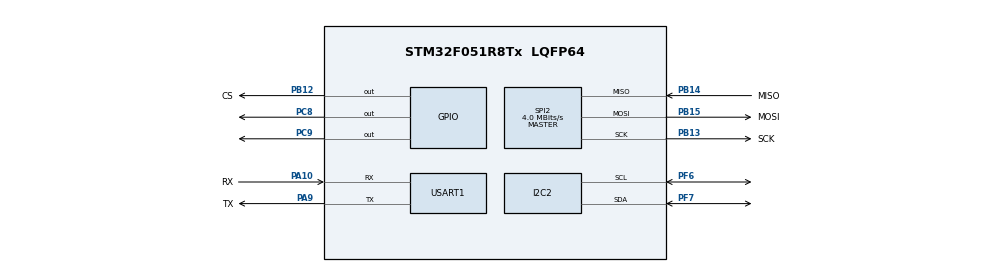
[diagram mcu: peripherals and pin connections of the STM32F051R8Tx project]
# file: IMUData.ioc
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Mcu.Family=STM32F0
Mcu.Name=STM32F051R8Tx
Mcu.Package=LQFP64
PA10.GPIO_Label=RX
PA10.Mode=Asynchronous
PA10.Signal=USART1_RX
PA9.GPIO_Label=TX
PA9.Mode=Asynchronous
PA9.Signal=USART1_TX
PB12.GPIO_Label=CS
PB12.Signal=GPIO_Output
PB13.GPIO_Label=SCK
PB13.Mode=Full_Duplex_Master
PB13.Signal=SPI2_SCK
PB14.GPIO_Label=MISO
PB14.Mode=Full_Duplex_Master
PB14.Signal=SPI2_MISO
PB15.GPIO_Label=MOSI
PB15.Mode=Full_Duplex_Master
PB15.Signal=SPI2_MOSI
PC8.PinState=GPIO_PIN_SET
PC8.Signal=GPIO_Output
PC9.PinState=GPIO_PIN_SET
PC9.Signal=GPIO_Output
PF6.Mode=I2C
PF6.Signal=I2C2_SCL
PF7.Mode=I2C
PF7.Signal=I2C2_SDA
ProjectManager.HeapSize=0x200
ProjectManager.StackSize=0x400
ProjectManager.TargetToolchain=STM32CubeIDE
SPI2.CalculateBaudRate=4.0 MBits/s
SPI2.DataSize=SPI_DATASIZE_8BIT
SPI2.Direction=SPI_DIRECTION_2LINES
SPI2.Mode=SPI_MODE_MASTER
SPI2.VirtualType=VM_MASTER
USART1.VirtualMode-Asynchronous=VM_ASYNC
board=custom

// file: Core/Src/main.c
/* USER CODE BEGIN Header */
/**
 ******************************************************************************
 * @file           : main.c
 * @brief          : Main program body
 ******************************************************************************
 * @attention
 *
 * Copyright (c) 2022 STMicroelectronics.
 * All rights reserved.
 *
 * This software is licensed under terms that can be found in the LICENSE file
 * in the root directory of this software component.
 * If no LICENSE file comes with this software, it is provided AS-IS.
 *
 ******************************************************************************
 */
/* USER CODE END Header */
#include "main.h"

/* USER CODE BEGIN Includes */
#include <string.h>
#include <stdio.h>
#include <stdlib.h>
#include "icm20948.h"
#include "xor_algo.h"
#include <stdlib.h>
#include <ctype.h>
#include <errno.h>
#include <time.h>
#include <unistd.h>
/* USER CODE END Includes */

/* USER CODE BEGIN PTD */

axises my_gyro;
axises my_accel;
axises my_mag;

/* USER CODE END PTD */

 I2C_HandleTypeDef hi2c2;

SPI_HandleTypeDef hspi2;

UART_HandleTypeDef huart1;

void SystemClock_Config(void);
static void MX_GPIO_Init(void);
static void MX_I2C2_Init(void);
static void MX_SPI2_Init(void);
static void MX_USART1_UART_Init(void);
/* USER CODE BEGIN PFP */

void Decompression (char *Out_size, const unsigned char *Compressed_size, unsigned CompressedLength);
void Compression(unsigned char *sizeOut, const char *Message_size);

static void cs_high();
static void cs_low();
static void select_user_bank(userbank ub);
static uint8_t read_single_icm20948_reg(userbank ub, uint8_t reg);
static void write_single_icm20948_reg(userbank ub, uint8_t reg, uint8_t val);
static uint8_t *read_multiple_icm20948_reg(userbank ub, uint8_t reg, uint8_t len);
static void write_multiple_icm20948_reg(userbank ub, uint8_t reg, uint8_t *val, uint8_t len);
static uint8_t read_single_ak09916_reg(uint8_t reg);
static void write_single_ak09916_reg(uint8_t reg, uint8_t val);
static uint8_t *read_multiple_ak09916_reg(uint8_t reg, uint8_t len);

/* Main Functions */
void Encryption(char compressedData);
// sensor init function.
// if sensor id is wrong, it is stuck in while.
void icm20948_init();
void ak09916_init();

// 16 bits ADC value. raw data.
void icm20948_gyro_read(axises *data);
void icm20948_accel_read(axises *data);
bool ak09916_mag_read(axises *data);

// Convert 16 bits ADC value to their unit.
void icm20948_gyro_read_dps(axises *data);
void icm20948_accel_read_g(axises *data);
bool ak09916_mag_read_uT(axises *data);

/* Sub Functions */
bool icm20948_who_am_i();
bool ak09916_who_am_i();

void icm20948_device_reset();
void ak09916_soft_reset();

void icm20948_wakeup();
void icm20948_sleep();

void icm20948_spi_slave_enable();

void icm20948_i2c_master_reset();
void icm20948_i2c_master_enable();
void icm20948_i2c_master_clk_frq(uint8_t config); // 0 - 15

void icm20948_clock_source(uint8_t source);
void icm20948_odr_align_enable();

void icm20948_gyro_low_pass_filter(uint8_t config);	 // 0 - 7
void icm20948_accel_low_pass_filter(uint8_t config); // 0 - 7

// Output Data Rate = 1.125kHz / (1 + divider)
void icm20948_gyro_sample_rate_divider(uint8_t divider);
void icm20948_accel_sample_rate_divider(uint16_t divider);
void ak09916_operation_mode_setting(operation_mode mode);

// Calibration before select full scale.
void icm20948_gyro_calibration();
void icm20948_accel_calibration();

void icm20948_gyro_full_scale_select(gyro_full_scale full_scale);
void icm20948_accel_full_scale_select(accel_full_scale full_scale);

/* USER CODE END PFP */

/* USER CODE BEGIN 0 */

/*  General purpose Function to send a char array
	over the UART and to automatically send a new line
	character after it.
*/
void debugPrintln(UART_HandleTypeDef *uart_handle,
				  char _out[])
{
	HAL_UART_Transmit(uart_handle, (uint8_t *)_out, strlen(_out),  60);
	char newline[2] = "\r\n";
	HAL_UART_Transmit(uart_handle, (uint8_t *)newline, 2, 10);
}

/* USER CODE END 0 */

int main(void)
{

  /* MCU Configuration--------------------------------------------------------*/

  /* Reset of all peripherals, Initializes the Flash interface and the Systick. */
  HAL_Init();

  /* Configure the system clock */
  SystemClock_Config();

  /* Initialize all configured peripherals */
  MX_GPIO_Init();
  MX_I2C2_Init();
  MX_SPI2_Init();
  MX_USART1_UART_Init();
  /* USER CODE BEGIN 2 */

	icm20948_init();

	 ak09916_init();

  /* USER CODE END 2 */

  /* Infinite loop */
  /* USER CODE BEGIN WHILE */
	while (1)
	{
		char buf101[256];
		char buf102[256];
		char buff2[256];
		char buffer[256];

		icm20948_gyro_read_dps(&my_gyro);
		icm20948_accel_read_g(&my_accel);

		debugPrintln(&huart1,"------------------------------ICM-20948 Data----------------------");

		sprintf(buff2,"\r\n Accelerometer Reading : X:%f Y:%f Z:%f\n",my_accel.x,my_accel.y,my_accel.z);
		sprintf(buf101,"\r\n Gyroscope Reading     : X:%f Y:%f Z:%f\n",my_gyro.x,my_gyro.y,my_gyro.z);
		strcat(buff2,buf101);
		debugPrintln(&huart1,(char *)buff2);
		debugPrintln(&huart1,"-------------------------------------------------------------------");

		debugPrintln(&huart1,"-------------------------------Encryption -------------------------");
		//call the encryption function, input vuyisa's compressed data

	    char xorKey = 'A';

	    int len = strlen(buff2);

	    for(int i = 0; i< len; i++){
	        buffer[i] = buff2[i] ^1 ;

	    }
	    debugPrintln(&huart1,buffer);

		debugPrintln(&huart1,"-------------------------------Decryption -------------------------");
		//call the Decryption function, input vuyisa's compressed data

	    int len2 = strlen(buffer);

	    for(int i = 0; i< len2; i++){
	        buffer[i] = buffer[i] ^ 2;

	    }
	    debugPrintln(&huart1,buffer);
	    HAL_Delay(5000);

    /* USER CODE END WHILE */

	}
}

void SystemClock_Config(void)
{
  RCC_OscInitTypeDef RCC_OscInitStruct = {0};
  RCC_ClkInitTypeDef RCC_ClkInitStruct = {0};
  RCC_PeriphCLKInitTypeDef PeriphClkInit = {0};

  /** Initializes the RCC Oscillators according to the specified parameters
  * in the RCC_OscInitTypeDef structure.
  */
  RCC_OscInitStruct.OscillatorType = RCC_OSCILLATORTYPE_HSI;
  RCC_OscInitStruct.HSIState = RCC_HSI_ON;
  RCC_OscInitStruct.HSICalibrationValue = RCC_HSICALIBRATION_DEFAULT;
  RCC_OscInitStruct.PLL.PLLState = RCC_PLL_NONE;
  if (HAL_RCC_OscConfig(&RCC_OscInitStruct) != HAL_OK)
  {
    Error_Handler();
  }

  /** Initializes the CPU, AHB and APB buses clocks
  */
  RCC_ClkInitStruct.ClockType = RCC_CLOCKTYPE_HCLK|RCC_CLOCKTYPE_SYSCLK
                              |RCC_CLOCKTYPE_PCLK1;
  RCC_ClkInitStruct.SYSCLKSource = RCC_SYSCLKSOURCE_HSI;
  RCC_ClkInitStruct.AHBCLKDivider = RCC_SYSCLK_DIV1;
  RCC_ClkInitStruct.APB1CLKDivider = RCC_HCLK_DIV1;

  if (HAL_RCC_ClockConfig(&RCC_ClkInitStruct, FLASH_LATENCY_0) != HAL_OK)
  {
    Error_Handler();
  }
  PeriphClkInit.PeriphClockSelection = RCC_PERIPHCLK_USART1;
  PeriphClkInit.Usart1ClockSelection = RCC_USART1CLKSOURCE_PCLK1;
  if (HAL_RCCEx_PeriphCLKConfig(&PeriphClkInit) != HAL_OK)
  {
    Error_Handler();
  }
}

static void MX_I2C2_Init(void)
{

  hi2c2.Instance = I2C2;
  hi2c2.Init.Timing = 0x2000090E;
  hi2c2.Init.OwnAddress1 = 0;
  hi2c2.Init.AddressingMode = I2C_ADDRESSINGMODE_7BIT;
  hi2c2.Init.DualAddressMode = I2C_DUALADDRESS_DISABLE;
  hi2c2.Init.OwnAddress2 = 0;
  hi2c2.Init.OwnAddress2Masks = I2C_OA2_NOMASK;
  hi2c2.Init.GeneralCallMode = I2C_GENERALCALL_DISABLE;
  hi2c2.Init.NoStretchMode = I2C_NOSTRETCH_DISABLE;
  if (HAL_I2C_Init(&hi2c2) != HAL_OK)
  {
    Error_Handler();
  }

  /** Configure Analogue filter
  */
  if (HAL_I2CEx_ConfigAnalogFilter(&hi2c2, I2C_ANALOGFILTER_ENABLE) != HAL_OK)
  {
    Error_Handler();
  }

  /** Configure Digital filter
  */
  if (HAL_I2CEx_ConfigDigitalFilter(&hi2c2, 0) != HAL_OK)
  {
    Error_Handler();
  }

}

static void MX_SPI2_Init(void)
{

  /* SPI2 parameter configuration*/
  hspi2.Instance = SPI2;
  hspi2.Init.Mode = SPI_MODE_MASTER;
  hspi2.Init.Direction = SPI_DIRECTION_2LINES;
  hspi2.Init.DataSize = SPI_DATASIZE_8BIT;
  hspi2.Init.CLKPolarity = SPI_POLARITY_LOW;
  hspi2.Init.CLKPhase = SPI_PHASE_1EDGE;
  hspi2.Init.NSS = SPI_NSS_SOFT;
  hspi2.Init.BaudRatePrescaler = SPI_BAUDRATEPRESCALER_2;
  hspi2.Init.FirstBit = SPI_FIRSTBIT_MSB;
  hspi2.Init.TIMode = SPI_TIMODE_DISABLE;
  hspi2.Init.CRCCalculation = SPI_CRCCALCULATION_DISABLE;
  hspi2.Init.CRCPolynomial = 7;
  hspi2.Init.CRCLength = SPI_CRC_LENGTH_DATASIZE;
  hspi2.Init.NSSPMode = SPI_NSS_PULSE_ENABLE;
  if (HAL_SPI_Init(&hspi2) != HAL_OK)
  {
    Error_Handler();
  }

}

static void MX_USART1_UART_Init(void)
{

  huart1.Instance = USART1;
  huart1.Init.BaudRate = 38400;
  huart1.Init.WordLength = UART_WORDLENGTH_8B;
  huart1.Init.StopBits = UART_STOPBITS_1;
  huart1.Init.Parity = UART_PARITY_NONE;
  huart1.Init.Mode = UART_MODE_TX_RX;
  huart1.Init.HwFlowCtl = UART_HWCONTROL_NONE;
  huart1.Init.OverSampling = UART_OVERSAMPLING_16;
  huart1.Init.OneBitSampling = UART_ONE_BIT_SAMPLE_DISABLE;
  huart1.AdvancedInit.AdvFeatureInit = UART_ADVFEATURE_NO_INIT;
  if (HAL_UART_Init(&huart1) != HAL_OK)
  {
    Error_Handler();
  }

}

static void MX_GPIO_Init(void)
{
  GPIO_InitTypeDef GPIO_InitStruct = {0};

  /* GPIO Ports Clock Enable */
  __HAL_RCC_GPIOB_CLK_ENABLE();
  __HAL_RCC_GPIOC_CLK_ENABLE();
  __HAL_RCC_GPIOA_CLK_ENABLE();
  __HAL_RCC_GPIOF_CLK_ENABLE();

  /*Configure GPIO pin Output Level */
  HAL_GPIO_WritePin(CS_GPIO_Port, CS_Pin, GPIO_PIN_RESET);

  /*Configure GPIO pin Output Level */
  HAL_GPIO_WritePin(GPIOC, GPIO_PIN_8|GPIO_PIN_9, GPIO_PIN_SET);

  /*Configure GPIO pin : CS_Pin */
  GPIO_InitStruct.Pin = CS_Pin;
  GPIO_InitStruct.Mode = GPIO_MODE_OUTPUT_PP;
  GPIO_InitStruct.Pull = GPIO_NOPULL;
  GPIO_InitStruct.Speed = GPIO_SPEED_FREQ_LOW;
  HAL_GPIO_Init(CS_GPIO_Port, &GPIO_InitStruct);

  /*Configure GPIO pins : PC8 PC9 */
  GPIO_InitStruct.Pin = GPIO_PIN_8|GPIO_PIN_9;
  GPIO_InitStruct.Mode = GPIO_MODE_OUTPUT_PP;
  GPIO_InitStruct.Pull = GPIO_NOPULL;
  GPIO_InitStruct.Speed = GPIO_SPEED_FREQ_LOW;
  HAL_GPIO_Init(GPIOC, &GPIO_InitStruct);

}

/* USER CODE BEGIN 4 */
// Functions to connect to ICM
static float gyro_scale_factor;
static float accel_scale_factor;

/* Static Functions */

/* Main Functions */

void Compression(unsigned char *sizeOut, const char *Message_size) {

	unsigned long long Buffer = 0;
	char Bits = 0;

	while (*Message_size != 0) {
		Buffer |= (unsigned long long)(*Message_size++) << Bits;
		Bits += 7;
		if (Bits == 7 * 8) {
			while (Bits > 0) {
				*sizeOut++ = Buffer;
				Buffer >>= 8;
				Bits -= 8;
			}
			Bits = 0;
			Buffer = 0;
		}
	}
	while (Bits > 0) {
		*sizeOut++ = Buffer;
		Buffer >>= 8;
		Bits -= 8;
	}
}

void Decompression (char *Out_size, const unsigned char *Compressed_size, unsigned CompressedLength) {

	unsigned long long Buffer = 0;
	char Bits = 0;
	while (CompressedLength) {
		while (CompressedLength && Bits < 7 * 8) {
			Buffer |= (unsigned long long)*Compressed_size++ << Bits;
			Bits += 8;
			--CompressedLength;
		}
		while (Bits > 0) {
			*Out_size++ = Buffer & 0x7F;
			Buffer >>= 7;
			Bits -= 7;
		}

		Bits = 0;
		Buffer = 0;
	}
}

void icm20948_init()
{
	while (!icm20948_who_am_i());

	icm20948_device_reset();
	icm20948_wakeup();

	icm20948_clock_source(1);
	icm20948_odr_align_enable();

	icm20948_spi_slave_enable();

	icm20948_gyro_low_pass_filter(0);
	icm20948_accel_low_pass_filter(0);

	icm20948_gyro_sample_rate_divider(0);
	icm20948_accel_sample_rate_divider(0);

	icm20948_gyro_calibration();
	icm20948_accel_calibration();

	icm20948_gyro_full_scale_select(_2000dps);
	icm20948_accel_full_scale_select(_16g);
}
/*void Encryption(char compressedData)
{
	aXor(buffer,compressedData);
}
void Decryption(char compressedData)
{
	aXor(buffer,compressedData);
}
*/
void ak09916_init()
{
	icm20948_i2c_master_reset();
	icm20948_i2c_master_enable();
	icm20948_i2c_master_clk_frq(7);

//	while (!ak09916_who_am_i())
//		;

	ak09916_soft_reset();
	ak09916_operation_mode_setting(continuous_measurement_100hz);
}

void icm20948_gyro_read(axises *data)
{
	uint8_t *temp = read_multiple_icm20948_reg(ub_0, B0_GYRO_XOUT_H, 6);

	data->x = (int16_t)(temp[0] << 8 | temp[1]);
	data->y = (int16_t)(temp[2] << 8 | temp[3]);
	data->z = (int16_t)(temp[4] << 8 | temp[5]);
}

void icm20948_accel_read(axises *data)
{
	uint8_t *temp = read_multiple_icm20948_reg(ub_0, B0_ACCEL_XOUT_H, 6);

	data->x = (int16_t)(temp[0] << 8 | temp[1]);
	data->y = (int16_t)(temp[2] << 8 | temp[3]);
	data->z = (int16_t)(temp[4] << 8 | temp[5]) + accel_scale_factor;
	// Add scale factor because calibraiton function offset gravity acceleration.
}

bool ak09916_mag_read(axises *data)
{
	uint8_t *temp;
	uint8_t drdy, hofl; // data ready, overflow

	drdy = read_single_ak09916_reg(MAG_ST1) & 0x01;
	if (!drdy)
		return false;

	temp = read_multiple_ak09916_reg(MAG_HXL, 6);

	hofl = read_single_ak09916_reg(MAG_ST2) & 0x08;
	if (hofl)
		return false;

	data->x = (int16_t)(temp[1] << 8 | temp[0]);
	data->y = (int16_t)(temp[3] << 8 | temp[2]);
	data->z = (int16_t)(temp[5] << 8 | temp[4]);

	return true;
}

void icm20948_gyro_read_dps(axises *data)
{
	icm20948_gyro_read(data);

	data->x /= gyro_scale_factor;
	data->y /= gyro_scale_factor;
	data->z /= gyro_scale_factor;
}

void icm20948_accel_read_g(axises *data)
{
	icm20948_accel_read(data);

	data->x /= accel_scale_factor;
	data->y /= accel_scale_factor;
	data->z /= accel_scale_factor;
}

bool ak09916_mag_read_uT(axises *data)
{
	axises temp;
	bool new_data = ak09916_mag_read(&temp);
	if (!new_data)
		return false;

	data->x = (float)(temp.x * 0.15);
	data->y = (float)(temp.y * 0.15);
	data->z = (float)(temp.z * 0.15);

	return true;
}

/* Sub Functions */
bool icm20948_who_am_i()
{
	uint8_t icm20948_id = read_single_icm20948_reg(ub_0, B0_WHO_AM_I);

	if (icm20948_id == ICM20948_ID)
		return true;
	else
		return false;
}

bool ak09916_who_am_i()
{
	uint8_t ak09916_id = read_single_ak09916_reg(MAG_WIA2);

	if (ak09916_id == AK09916_ID)
		return true;
	else
		return false;
}

void icm20948_device_reset()
{
	write_single_icm20948_reg(ub_0, B0_PWR_MGMT_1, 0x80 | 0x41);
	HAL_Delay(100);
}

void ak09916_soft_reset()
{
	write_single_ak09916_reg(MAG_CNTL3, 0x01);
	HAL_Delay(100);
}

void icm20948_wakeup()
{
	uint8_t new_val = read_single_icm20948_reg(ub_0, B0_PWR_MGMT_1);
	new_val &= 0xBF;

	write_single_icm20948_reg(ub_0, B0_PWR_MGMT_1, new_val);
	HAL_Delay(100);
}

void icm20948_sleep()
{
	uint8_t new_val = read_single_icm20948_reg(ub_0, B0_PWR_MGMT_1);
	new_val |= 0x40;

	write_single_icm20948_reg(ub_0, B0_PWR_MGMT_1, new_val);
	HAL_Delay(100);
}

void icm20948_spi_slave_enable()
{
	uint8_t new_val = read_single_icm20948_reg(ub_0, B0_USER_CTRL);
	new_val |= 0x10;

	write_single_icm20948_reg(ub_0, B0_USER_CTRL, new_val);
}

void icm20948_i2c_master_reset()
{
	uint8_t new_val = read_single_icm20948_reg(ub_0, B0_USER_CTRL);
	new_val |= 0x02;

	write_single_icm20948_reg(ub_0, B0_USER_CTRL, new_val);
}

void icm20948_i2c_master_enable()
{
	uint8_t new_val = read_single_icm20948_reg(ub_0, B0_USER_CTRL);
	new_val |= 0x20;

	write_single_icm20948_reg(ub_0, B0_USER_CTRL, new_val);
	HAL_Delay(100);
}

void icm20948_i2c_master_clk_frq(uint8_t config)
{
	uint8_t new_val = read_single_icm20948_reg(ub_3, B3_I2C_MST_CTRL);
	new_val |= config;

	write_single_icm20948_reg(ub_3, B3_I2C_MST_CTRL, new_val);
}

void icm20948_clock_source(uint8_t source)
{
	uint8_t new_val = read_single_icm20948_reg(ub_0, B0_PWR_MGMT_1);
	new_val |= source;

	write_single_icm20948_reg(ub_0, B0_PWR_MGMT_1, new_val);
}

void icm20948_odr_align_enable()
{
	write_single_icm20948_reg(ub_2, B2_ODR_ALIGN_EN, 0x01);
}

void icm20948_gyro_low_pass_filter(uint8_t config)
{
	uint8_t new_val = read_single_icm20948_reg(ub_2, B2_GYRO_CONFIG_1);
	new_val |= config << 3;

	write_single_icm20948_reg(ub_2, B2_GYRO_CONFIG_1, new_val);
}

void icm20948_accel_low_pass_filter(uint8_t config)
{
	uint8_t new_val = read_single_icm20948_reg(ub_2, B2_ACCEL_CONFIG);
	new_val |= config << 3;

	write_single_icm20948_reg(ub_2, B2_GYRO_CONFIG_1, new_val);
}

void icm20948_gyro_sample_rate_divider(uint8_t divider)
{
	write_single_icm20948_reg(ub_2, B2_GYRO_SMPLRT_DIV, divider);
}

void icm20948_accel_sample_rate_divider(uint16_t divider)
{
	uint8_t divider_1 = (uint8_t)(divider >> 8);
	uint8_t divider_2 = (uint8_t)(0x0F & divider);

	write_single_icm20948_reg(ub_2, B2_ACCEL_SMPLRT_DIV_1, divider_1);
	write_single_icm20948_reg(ub_2, B2_ACCEL_SMPLRT_DIV_2, divider_2);
}

void ak09916_operation_mode_setting(operation_mode mode)
{
	write_single_ak09916_reg(MAG_CNTL2, mode);
	HAL_Delay(100);
}

void icm20948_gyro_calibration()
{
	axises temp;
	int32_t gyro_bias[3] = {0};
	uint8_t gyro_offset[6] = {0};

	for (int i = 0; i < 100; i++)
	{
		icm20948_gyro_read(&temp);
		gyro_bias[0] += temp.x;
		gyro_bias[1] += temp.y;
		gyro_bias[2] += temp.z;
	}

	gyro_bias[0] /= 100;
	gyro_bias[1] /= 100;
	gyro_bias[2] /= 100;

	// Construct the gyro biases for push to the hardware gyro bias registers,
	// which are reset to zero upon device startup.
	// Divide by 4 to get 32.9 LSB per deg/s to conform to expected bias input format.
	// Biases are additive, so change sign on calculated average gyro biases
	gyro_offset[0] = (-gyro_bias[0] / 4 >> 8) & 0xFF;
	gyro_offset[1] = (-gyro_bias[0] / 4) & 0xFF;
	gyro_offset[2] = (-gyro_bias[1] / 4 >> 8) & 0xFF;
	gyro_offset[3] = (-gyro_bias[1] / 4) & 0xFF;
	gyro_offset[4] = (-gyro_bias[2] / 4 >> 8) & 0xFF;
	gyro_offset[5] = (-gyro_bias[2] / 4) & 0xFF;

	write_multiple_icm20948_reg(ub_2, B2_XG_OFFS_USRH, gyro_offset, 6);
}

void icm20948_accel_calibration()
{
	axises temp;
	uint8_t *temp2;
	uint8_t *temp3;
	uint8_t *temp4;

	int32_t accel_bias[3] = {0};
	int32_t accel_bias_reg[3] = {0};
	uint8_t accel_offset[6] = {0};

	for (int i = 0; i < 100; i++)
	{
		icm20948_accel_read(&temp);
		accel_bias[0] += temp.x;
		accel_bias[1] += temp.y;
		accel_bias[2] += temp.z;
	}

	accel_bias[0] /= 100;
	accel_bias[1] /= 100;
	accel_bias[2] /= 100;

	uint8_t mask_bit[3] = {0, 0, 0};

	temp2 = read_multiple_icm20948_reg(ub_1, B1_XA_OFFS_H, 2);
	accel_bias_reg[0] = (int32_t)(temp2[0] << 8 | temp2[1]);
	mask_bit[0] = temp2[1] & 0x01;

	temp3 = read_multiple_icm20948_reg(ub_1, B1_YA_OFFS_H, 2);
	accel_bias_reg[1] = (int32_t)(temp3[0] << 8 | temp3[1]);
	mask_bit[1] = temp3[1] & 0x01;

	temp4 = read_multiple_icm20948_reg(ub_1, B1_ZA_OFFS_H, 2);
	accel_bias_reg[2] = (int32_t)(temp4[0] << 8 | temp4[1]);
	mask_bit[2] = temp4[1] & 0x01;

	accel_bias_reg[0] -= (accel_bias[0] / 8);
	accel_bias_reg[1] -= (accel_bias[1] / 8);
	accel_bias_reg[2] -= (accel_bias[2] / 8);

	accel_offset[0] = (accel_bias_reg[0] >> 8) & 0xFF;
	accel_offset[1] = (accel_bias_reg[0]) & 0xFE;
	accel_offset[1] = accel_offset[1] | mask_bit[0];

	accel_offset[2] = (accel_bias_reg[1] >> 8) & 0xFF;
	accel_offset[3] = (accel_bias_reg[1]) & 0xFE;
	accel_offset[3] = accel_offset[3] | mask_bit[1];

	accel_offset[4] = (accel_bias_reg[2] >> 8) & 0xFF;
	accel_offset[5] = (accel_bias_reg[2]) & 0xFE;
	accel_offset[5] = accel_offset[5] | mask_bit[2];

	write_multiple_icm20948_reg(ub_1, B1_XA_OFFS_H, &accel_offset[0], 2);
	write_multiple_icm20948_reg(ub_1, B1_YA_OFFS_H, &accel_offset[2], 2);
	write_multiple_icm20948_reg(ub_1, B1_ZA_OFFS_H, &accel_offset[4], 2);
}

void icm20948_gyro_full_scale_select(gyro_full_scale full_scale)
{
	uint8_t new_val = read_single_icm20948_reg(ub_2, B2_GYRO_CONFIG_1);

	switch (full_scale)
	{
	case _250dps:
		new_val |= 0x00;
		gyro_scale_factor = 131.0;
		break;
	case _500dps:
		new_val |= 0x02;
		gyro_scale_factor = 65.5;
		break;
	case _1000dps:
		new_val |= 0x04;
		gyro_scale_factor = 32.8;
		break;
	case _2000dps:
		new_val |= 0x06;
		gyro_scale_factor = 16.4;
		break;
	}

	write_single_icm20948_reg(ub_2, B2_GYRO_CONFIG_1, new_val);
}

void icm20948_accel_full_scale_select(accel_full_scale full_scale)
{
	uint8_t new_val = read_single_icm20948_reg(ub_2, B2_ACCEL_CONFIG);

	switch (full_scale)
	{
	case _2g:
		new_val |= 0x00;
		accel_scale_factor = 16384;
		break;
	case _4g:
		new_val |= 0x02;
		accel_scale_factor = 8192;
		break;
	case _8g:
		new_val |= 0x04;
		accel_scale_factor = 4096;
		break;
	case _16g:
		new_val |= 0x06;
		accel_scale_factor = 2048;
		break;
	}

	write_single_icm20948_reg(ub_2, B2_ACCEL_CONFIG, new_val);
}

/* Static Functions */
static void cs_high()
{
	HAL_GPIO_WritePin(GPIOB, GPIO_PIN_12, GPIO_PIN_SET);
}

static void cs_low()
{
	HAL_GPIO_WritePin(GPIOB, GPIO_PIN_12, GPIO_PIN_RESET);
}

static void select_user_bank(userbank ub)
{
	uint8_t write_reg[2];
	write_reg[0] = WRITE | REG_BANK_SEL;
	write_reg[1] = ub;

	cs_low();
	HAL_SPI_Transmit(&hspi2, write_reg, 2, 10);
	cs_high();
}

static uint8_t read_single_icm20948_reg(userbank ub, uint8_t reg)
{
	uint8_t read_reg = READ | reg;
	uint8_t reg_val;
	select_user_bank(ub);

	cs_low();
	HAL_SPI_Transmit(&hspi2, &read_reg, 1, 1000);
	HAL_SPI_Receive(&hspi2, &reg_val, 1, 1000);
	cs_high();

	return reg_val;
}

static void write_single_icm20948_reg(userbank ub, uint8_t reg, uint8_t val)
{
	uint8_t write_reg[2];
	write_reg[0] = WRITE | reg;
	write_reg[1] = val;

	select_user_bank(ub);

	cs_low();
	HAL_SPI_Transmit(&hspi2, write_reg, 2, 1000);
	cs_high();
}

static uint8_t *read_multiple_icm20948_reg(userbank ub, uint8_t reg, uint8_t len)
{
	uint8_t read_reg = READ | reg;
	static uint8_t reg_val[6];
	select_user_bank(ub);

	cs_low();
	HAL_SPI_Transmit(&hspi2, &read_reg, 1, 1000);
	HAL_SPI_Receive(&hspi2, reg_val, len, 1000);
	cs_high();

	return reg_val;
}

static void write_multiple_icm20948_reg(userbank ub, uint8_t reg, uint8_t *val, uint8_t len)
{
	uint8_t write_reg = WRITE | reg;
	select_user_bank(ub);

	cs_low();
	HAL_SPI_Transmit(&hspi2, &write_reg, 1, 1000);
	HAL_SPI_Transmit(&hspi2, val, len, 1000);
	cs_high();
}

static uint8_t read_single_ak09916_reg(uint8_t reg)
{
	write_single_icm20948_reg(ub_3, B3_I2C_SLV0_ADDR, READ | MAG_SLAVE_ADDR);
	write_single_icm20948_reg(ub_3, B3_I2C_SLV0_REG, reg);
	write_single_icm20948_reg(ub_3, B3_I2C_SLV0_CTRL, 0x81);

	HAL_Delay(1);
	return read_single_icm20948_reg(ub_0, B0_EXT_SLV_SENS_DATA_00);
}

static void write_single_ak09916_reg(uint8_t reg, uint8_t val)
{
	write_single_icm20948_reg(ub_3, B3_I2C_SLV0_ADDR, WRITE | MAG_SLAVE_ADDR);
	write_single_icm20948_reg(ub_3, B3_I2C_SLV0_REG, reg);
	write_single_icm20948_reg(ub_3, B3_I2C_SLV0_DO, val);
	write_single_icm20948_reg(ub_3, B3_I2C_SLV0_CTRL, 0x81);
}

static uint8_t *read_multiple_ak09916_reg(uint8_t reg, uint8_t len)
{
	write_single_icm20948_reg(ub_3, B3_I2C_SLV0_ADDR, READ | MAG_SLAVE_ADDR);
	write_single_icm20948_reg(ub_3, B3_I2C_SLV0_REG, reg);
	write_single_icm20948_reg(ub_3, B3_I2C_SLV0_CTRL, 0x80 | len);

	HAL_Delay(1);
	return read_multiple_icm20948_reg(ub_0, B0_EXT_SLV_SENS_DATA_00, len);
}

/* USER CODE END 4 */

void Error_Handler(void)
{
	__disable_irq();
	while (1)
	{
	}
}
